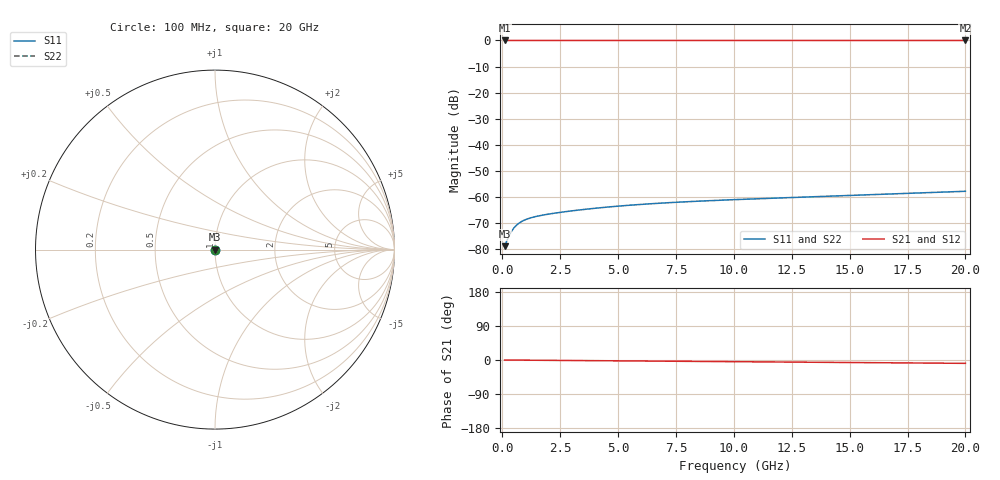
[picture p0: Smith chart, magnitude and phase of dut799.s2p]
! Touchstone file exported from HFSS 2026.1.0
!  File:  C:/ffzhzh/LocalFiles/Ansys_Project_Files/temp_train_TSV_799_1783184027_55132.aedt
!  Generated:  12:55:19 AM Jul  5, 2026
!  Design:  TSV
!  Project:  temp_train_TSV_799_1783184027_55132
! Variables:
!  h_bsmrdl = 2um
!  h_ox = 20um
!  h_rdl = 5um
!  h_sub = 88.92um
!  h_tmrdl = 5um
!  h_tsv = 88.92um
!  h_via = 3um
!  l_bsmrdl = 300um
!  l_sub = 424.12um
!  l_tmrdl = 200um
!  m_sub = 200um
!  pitch = 48.4um
!  r_tsv = 12.06um
!  s_tmrdl = 10um
!  w_bsmrdl = 18um
!  w_sub = 500um
!  w_tmrdl = 12um
!  x_tsv_center1 = 206um
!  x_tsv_center2 = 524um
!  x_tsv_center3 = 736um
!  x_tsv_center4 = 1054um
!  x_tsv_center5 = 1266um
!  x_tsv_center6 = 1584um
# GHz S MA R 50.000000
! Terminal data exported
! Port[1] = TSV1_1_T1
! Port[2] = TSV1_1_T2
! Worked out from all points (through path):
!   200 points, 100 MHz to 20 GHz, reference 50 ohm
!   highest |S21| = 0.00 dB at 100 MHz (marker M1); lowest = 0.0 dB at 20 GHz (marker M2)
!   group delay of S21, straight-line fit = 1.22 ps
!   lowest |S11| = -78.9 dB at 100 MHz (marker M3), VSWR 1.00, Z = 50 + j0.0044 ohm
!   |S11| at or under -10 dB: start of sweep to end of sweep
!   |S22| runs from -78.9 to -57.9 dB; largest |S21 - S12| = 2.5e-15
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0.1  0.000113 22.9  0.9999 -0.0  0.9999 -0.0  0.000113 22.9
! Gamma 0 0 0 0
! Port Impedance 50 0 50 0
0.2  0.000145 35.7  0.9999 -0.1  0.9999 -0.1  0.000145 35.7
0.3  0.0001825 40.9  0.9999 -0.1  0.9999 -0.1  0.0001825 40.9
0.4  0.0002192 42.3  0.9998 -0.2  0.9998 -0.2  0.0002192 42.3
0.5  0.0002526 42.0  0.9998 -0.2  0.9998 -0.2  0.0002526 42.0
0.6  0.0002819 40.9  0.9998 -0.3  0.9998 -0.3  0.0002819 40.9
0.7  0.0003072 39.5  0.9998 -0.3  0.9998 -0.3  0.0003072 39.5
0.8  0.0003291 38.2  0.9997 -0.4  0.9997 -0.4  0.000329 38.1
0.9  0.0003479 36.8  0.9997 -0.4  0.9997 -0.4  0.0003479 36.8
1  0.0003644 35.6  0.9997 -0.5  0.9997 -0.5  0.0003643 35.6
1.2  0.0003918 33.6  0.9997 -0.5  0.9997 -0.5  0.0003917 33.5
1.4  0.0004141 31.9  0.9996 -0.6  0.9996 -0.6  0.000414 31.9
1.7  0.000442 30.2  0.9996 -0.8  0.9996 -0.8  0.000442 30.2
2.5  0.0005032 27.4  0.9996 -1.1  0.9996 -1.1  0.0005031 27.4
3.5  0.0005711 24.7  0.9995 -1.6  0.9995 -1.6  0.0005711 24.7
5.1  0.0006684 20.1  0.9994 -2.3  0.9994 -2.3  0.0006683 20.1
6.8  0.0007547 14.5  0.9993 -3.0  0.9993 -3.0  0.0007545 14.5
8.3  0.0008186 9.6  0.9992 -3.7  0.9992 -3.7  0.0008183 9.6
10.1  0.0008857 4.0  0.9991 -4.5  0.9991 -4.5  0.0008853 4.0
13.4  0.0009996 -5.5  0.999 -5.9  0.999 -5.9  0.000999 -5.5
16.7  0.001124 -14.4  0.9989 -7.4  0.9989 -7.4  0.001123 -14.4
20  0.001278 -23.4  0.9988 -8.8  0.9988 -8.8  0.001276 -23.4
